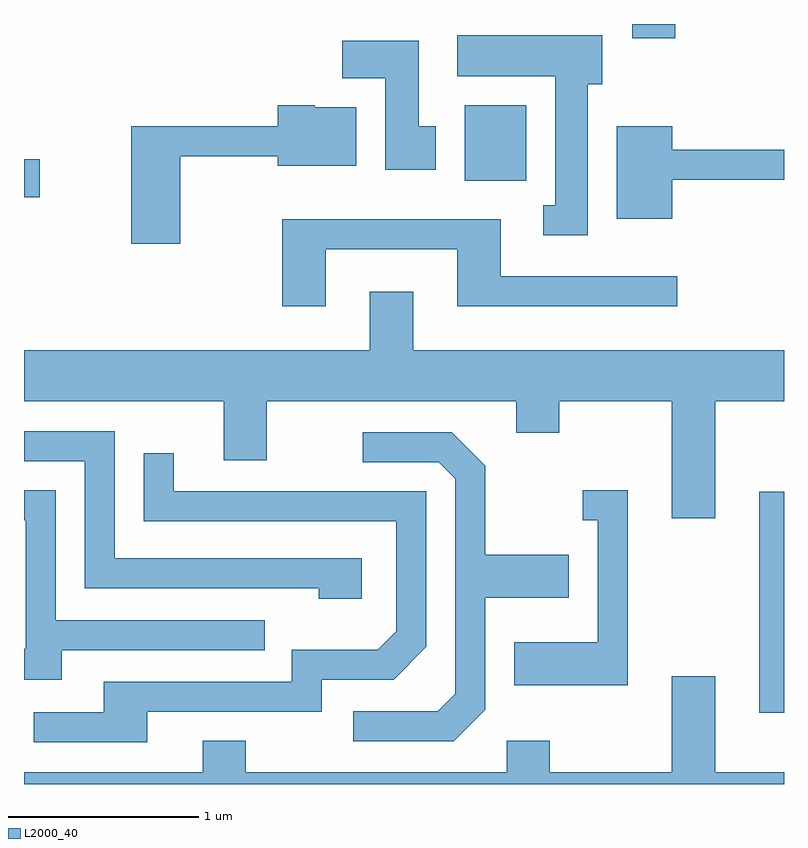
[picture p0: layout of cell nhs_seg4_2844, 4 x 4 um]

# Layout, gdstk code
import gdstk
lib = gdstk.Library(unit=1e-6, precision=1e-09)
def R(c, l, rs):  # rectangles x0, y0, x1, y1
    for r in rs: c.add(gdstk.rectangle(r[:2], r[2:], *l))
def P(c, l, *ps):  # polygons
    for p in ps: c.add(gdstk.Polygon(p, *l))
L2000_40 = (2000, 40)

nhs_seg4_2844 = lib.new_cell('nhs_seg4_2844')
R(nhs_seg4_2844, L2000_40, [(271.481,1366.356,271.611,1367.519), (267.611,1369.071,267.694,1369.269), (269.931,1369.156,270.254,1369.554), (270.811,1369.906,271.039,1369.982)])
P(nhs_seg4_2844, L2000_40, [(270.579,1369.666),(270.654,1369.666),(270.654,1369.924),(269.891,1369.924),(269.891,1369.706),(270.406,1369.706),(270.406,1369.029),(270.343,1369.029),(270.343,1368.871),(270.579,1368.871)],
  [(269.779,1369.444),(269.689,1369.444),(269.689,1369.894),(269.286,1369.894),(269.286,1369.696),(269.511,1369.696),(269.511,1369.216),(269.779,1369.216)],
  [(268.434,1369.286),(268.946,1369.286),(268.946,1369.236),(269.359,1369.236),(269.359,1369.544),(269.14,1369.544),(269.14,1369.554),(268.946,1369.554),(268.946,1369.444),(268.176,1369.444),(268.176,1368.826),(268.434,1368.826)],
  [(271.024,1369.161),(271.611,1369.161),(271.611,1369.319),(271.024,1369.319),(271.024,1369.444),(270.731,1369.444),(270.731,1368.956),(271.024,1368.956)],
  [(269.199,1368.796),(269.891,1368.796),(269.891,1368.496),(271.048,1368.496),(271.048,1368.654),(270.119,1368.654),(270.119,1368.954),(268.971,1368.954),(268.971,1368.496),(269.199,1368.496)],
  [(271.249,1367.996),(271.611,1367.996),(271.611,1368.264),(269.659,1368.264),(269.659,1368.574),(269.431,1368.574),(269.431,1368.264),(267.611,1368.264),(267.611,1367.996),(268.661,1367.996),(268.661,1367.686),(268.889,1367.686),(268.889,1367.996),(270.201,1367.996),(270.201,1367.831),(270.429,1367.831),(270.429,1367.996),(271.021,1367.996),(271.021,1367.381),(271.249,1367.381)],
  [(269.389,1367.169),(268.089,1367.169),(268.089,1367.839),(267.611,1367.839),(267.611,1367.681),(267.931,1367.681),(267.931,1367.011),(269.161,1367.011),(269.161,1366.956),(269.389,1366.956)],
  [(270.039,1366.374),(270.039,1366.961),(270.479,1366.961),(270.479,1367.189),(270.039,1367.189),(270.039,1367.657),(269.862,1367.834),(269.393,1367.834),(269.393,1367.676),(269.794,1367.676),(269.881,1367.589),(269.881,1366.457),(269.789,1366.364),(269.343,1366.364),(269.343,1366.206),(269.872,1366.206)],
  [(268.259,1366.361),(269.179,1366.361),(269.179,1366.531),(269.557,1366.531),(269.729,1366.704),(269.729,1367.524),(268.399,1367.524),(268.399,1367.723),(268.241,1367.723),(268.241,1367.366),(269.571,1367.366),(269.571,1366.787),(269.474,1366.689),(269.021,1366.689),(269.021,1366.519),(268.031,1366.519),(268.031,1366.359),(267.663,1366.359),(267.663,1366.201),(268.259,1366.201)],
  [(270.789,1367.529),(270.553,1367.529),(270.553,1367.371),(270.631,1367.371),(270.631,1366.729),(270.191,1366.729),(270.191,1366.501),(270.789,1366.501)],
  [(267.809,1366.686),(268.878,1366.686),(268.878,1366.844),(267.779,1366.844),(267.779,1367.529),(267.611,1367.529),(267.611,1367.371),(267.621,1367.371),(267.621,1366.694),(267.611,1366.694),(267.611,1366.531),(267.809,1366.531)],
  [(271.611,1366.044),(271.249,1366.044),(271.249,1366.549),(271.021,1366.549),(271.021,1366.044),(270.379,1366.044),(270.379,1366.209),(270.151,1366.209),(270.151,1366.044),(268.779,1366.044),(268.779,1366.209),(268.551,1366.209),(268.551,1366.044),(267.611,1366.044),(267.611,1365.982),(271.611,1365.982)])

lib.write_gds('nhs_seg4_2844.gds')
